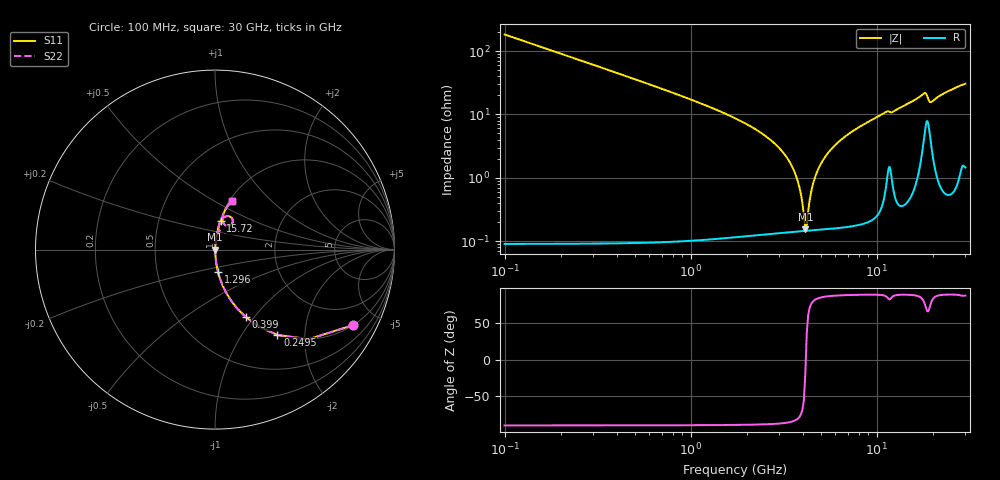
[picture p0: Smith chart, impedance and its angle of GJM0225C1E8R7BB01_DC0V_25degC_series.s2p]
!Murata Part Number: GJM0225C1E8R7BB01
!These Parameters are Measured in Series Mode Connection
!  o--ll--o
!Port1  Port2
!  o------o
!Operation Temp=25[degC], DC Bias Voltage=0[V]
!Freq. Start=100[MHz] Stop=30[GHz], 401[Steps]
!Data Generated on Feb 1, 2023
# Hz S RI R 50
!Freq.(Hz) S11(Real) S11(Imag) S21(Real) S21(Imag) S12(Real) S12(Imag) S22(Real) S22(Imag)
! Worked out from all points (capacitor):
!   401 points, 100 MHz to 30 GHz, reference 50 ohm
!   read as one part in series: C = 8.7 pF near 249.5 MHz
!   lowest |Z| = 154 mohm at 4.136 GHz (marker M1)
!   series resonance near 4.161 GHz, so ESL is about 170 pH
!   S11 on the Smith chart (normalised r, x): 100 MHz: 1.00, -3.66; 249.5 MHz: 1.00, -1.46; 399 MHz: 1.00, -0.91; 1.296 GHz: 1.00, -0.25; 15.72 GHz: 1.01, +0.33; 30 GHz: 1.03, +0.61
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1e8  0.7696 -0.4208  0.2304 0.4208  0.2304 0.4208  0.7696 -0.4208
2.495e8  0.3482 -0.4758  0.6518 0.4758  0.6518 0.4758  0.3482 -0.4758
3.99e8  0.1715 -0.376  0.8285 0.376  0.8285 0.376  0.1715 -0.376
6.98e8  0.0617 -0.2387  0.9383 0.2387  0.9383 0.2387  0.0617 -0.2387
1.296e9  0.017 -0.125  0.983 0.125  0.983 0.125  0.017 -0.125
3.31425e9  0.00177 -0.0201  0.9982 0.0201  0.9982 0.0201  0.00177 -0.0201
3.76275e9  0.00149 -0.00882  0.9985 0.00882  0.9985 0.00882  0.00149 -0.00882
4.06175e9  0.00144 -0.00211  0.9986 0.00211  0.9986 0.00211  0.00144 -0.00211
4.1365e9  0.00144 -0.000515  0.9986 0.000515  0.9986 0.000515  0.00144 -0.000515
4.286e9  0.00146 0.00259  0.9985 -0.00259  0.9985 -0.00259  0.00146 0.00259
4.4355e9  0.0015 0.0056  0.9985 -0.0056  0.9985 -0.0056  0.0015 0.0056
4.65975e9  0.00158 0.00994  0.9984 -0.00994  0.9984 -0.00994  0.00158 0.00994
5.10825e9  0.00185 0.0181  0.9982 -0.0181  0.9982 -0.0181  0.00185 0.0181
6.8275e9  0.00372 0.0453  0.9963 -0.0453  0.9963 -0.0453  0.00372 0.0453
1.01165e10  0.0108 0.0905  0.9892 -0.0905  0.9892 -0.0905  0.0108 0.0905
1.505e10  0.0271 0.1478  0.9729 -0.1478  0.9729 -0.1478  0.0271 0.1478
1.572275e10  0.0316 0.1574  0.9684 -0.1574  0.9684 -0.1574  0.0316 0.1574
1.804e10  0.081 0.185  0.919 -0.185  0.919 -0.185  0.081 0.185
1.9236e10  0.069 0.1327  0.931 -0.1327  0.931 -0.1327  0.069 0.1327
2.005825e10  0.0449 0.1519  0.9551 -0.1519  0.9551 -0.1519  0.0449 0.1519
2.50665e10  0.0604 0.2273  0.9396 -0.2273  0.9396 -0.2273  0.0604 0.2273
3e10  0.0961 0.2719  0.9039 -0.2719  0.9039 -0.2719  0.0961 0.2719
